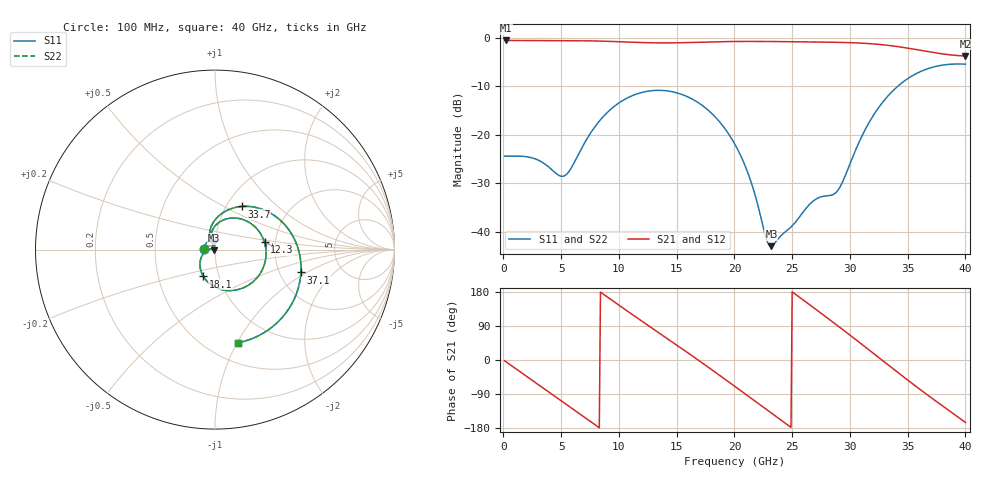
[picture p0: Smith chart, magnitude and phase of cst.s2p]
! C_s8_ap800: L1→L8, antipad Ø0.8 on every plane
! stackup: 8-layer 1.6 mm FR-4 (generic)
! ports: 1, 2
! CST Studio Suite 2025.5 Release from 2025-05-30, time domain (FIT, hexahedral, PBA), 154800 mesh cells, 35 s
! mesh: {'lpw': 20, 'lpb': 20, 'minstep': 0.0, 'ratio': 20}; ports: port 1 (face); port 2 (face)
! interpolated from CST's 1001 samples to the case grid
# Hz S RI R 50
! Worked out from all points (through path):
!   400 points, 100 MHz to 40 GHz, reference 50 ohm
!   highest |S21| = -0.54 dB at 200 MHz (marker M1); lowest = -3.8 dB at 40 GHz (marker M2)
!   group delay of S21, straight-line fit = 61.4 ps
!   lowest |S11| = -43.0 dB at 23.2 GHz (marker M3), VSWR 1.01, Z = 49.4 - j0.366 ohm
!   |S11| at or under -10 dB: start of sweep to 34.14 GHz
!   |S22| runs from -43.0 to -5.4 dB; largest |S21 - S12| = 3.2e-07
!   S11 on the Smith chart (normalised r, x): 100 MHz: 0.89, +0.01; 12.3 GHz: 1.75, +0.15; 18.1 GHz: 0.84, -0.26; 33.7 GHz: 1.18, +0.61; 37.1 GHz: 2.62, -0.88; 40 GHz: 0.69, -1.01
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1e8  -0.0601 0.00352  0.939 -0.0353  0.939 -0.0353  -0.0601 0.00352
2e8  -0.0598 0.00702  0.937 -0.0705  0.937 -0.0705  -0.0598 0.00702
3.7e9  0.00671 0.0483  0.1713 -0.9204  0.1713 -0.9204  0.00671 0.0483
5.3e9  -0.00167 0.0378  -0.3778 -0.8553  -0.3778 -0.8553  -0.00167 0.0378
6.8e9  -0.0214 0.0706  -0.7754 -0.5186  -0.7754 -0.5186  -0.0214 0.0706
9.3e9  0.0658 0.1714  -0.8615 0.3192  -0.8615 0.3192  0.0658 0.1714
1.23e10  0.276 0.0404  -0.0922 0.8869  -0.0922 0.8869  0.276 0.0403
1.34e10  0.2784 -0.0717  0.2599 0.8478  0.2599 0.8478  0.2784 -0.0717
1.59e10  0.0985 -0.2276  0.8371 0.3123  0.8371 0.3123  0.0985 -0.2276
1.81e10  -0.0646 -0.1498  0.8101 -0.412  0.8101 -0.412  -0.0646 -0.1498
2.01e10  -0.0707 -0.0317  0.2993 -0.8673  0.2993 -0.8673  -0.0707 -0.0317
2.16e10  -0.0285 0.00148  -0.226 -0.8904  -0.226 -0.8904  -0.0285 0.00148
2.32e10  -0.00606 -0.0037  -0.7006 -0.5907  -0.7006 -0.5907  -0.00606 -0.0037
2.5e10  -0.0115 0.000706  -0.9118 0.00164  -0.9118 0.00164  -0.0115 0.000708
2.67e10  -0.00634 0.0191  -0.7108 0.563  -0.7108 0.563  -0.00634 0.0191
2.97e10  -0.017 0.0369  0.2649 0.854  0.2649 0.854  -0.017 0.0369
3.17e10  -0.0184 0.1352  0.7863 0.3764  0.7863 0.3764  -0.0183 0.1352
3.34e10  0.1115 0.2344  0.8059 -0.216  0.8059 -0.216  0.1116 0.2343
3.37e10  0.1487 0.2403  0.7648 -0.3113  0.7648 -0.3113  0.1488 0.2403
3.54e10  0.3772 0.1507  0.359 -0.68  0.359 -0.68  0.3772 0.1507
3.71e10  0.4788 -0.127  -0.133 -0.6969  -0.133 -0.6969  0.4788 -0.127
4e10  0.1287 -0.5194  -0.626 -0.172  -0.626 -0.172  0.1286 -0.5194
